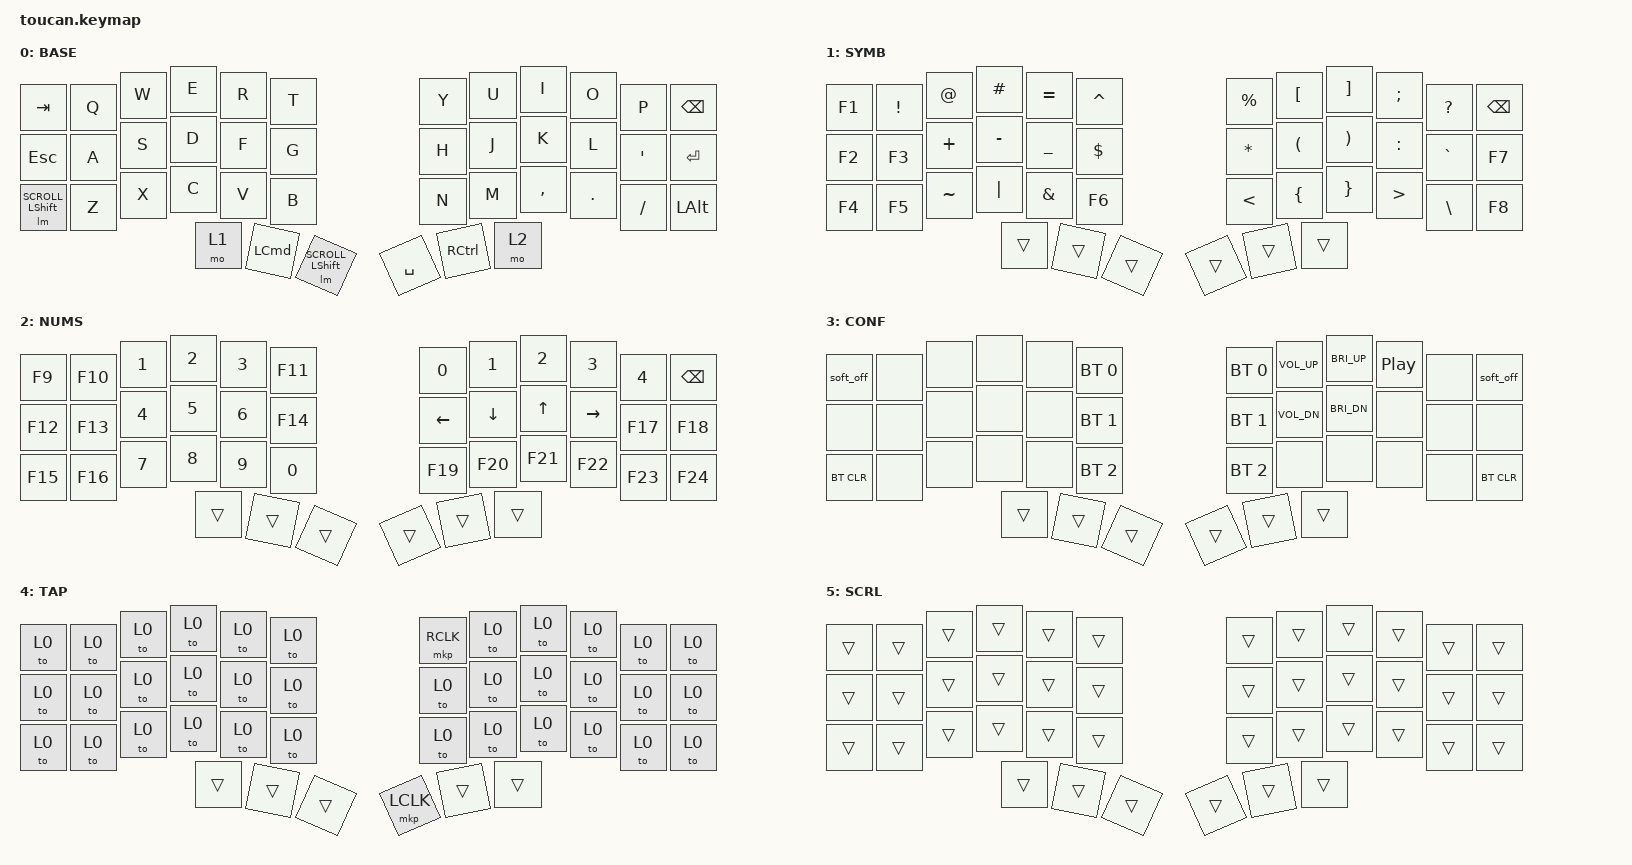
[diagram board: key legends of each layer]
/*
 * Key position indices
 *
 * First row:    0  1  2  3  4  5    6  7  8  9  10 11
 * Second row:  12 13 14 15 16 17   18 19 20 21 22 23
 * Third row:   24 25 26 27 28 29   30 31 32 33 34 35
 * Bottom row:      36 37 38           39 40 41
 */

#include <behaviors.dtsi>
#include <dt-bindings/zmk/keys.h>
#include <dt-bindings/zmk/bt.h>
#include <dt-bindings/zmk/outputs.h>
#include <dt-bindings/zmk/pointing.h>

#define BASE 0
#define SYMB 1
#define NUMS 2
#define CONF 3
#define TAP  4
// SCROLL (index 5): fully transparent layer. Holding Shift activates it as a
// side effect (via the &lm macro), and while it is active the input-listener
// applies a slower scroll scaler (see boards/shields/toucan/toucan.dtsi). The
// fast scroll layers themselves are SYMB(1)/NUMS(2); slow scroll only kicks in
// when Shift is also held. SCROLL carries only &trans, so Shift behaves normally
// for keypresses.
#define SCROLL 5

/ {
  behaviors {
    // Layer + modifier (ZMK docs "LM()" pattern): while held, presses the given
    // modifier AND turns on the given layer; releases both on release.
    // Params: 1 = layer, 2 = modifier keycode. Used as &lm SCROLL LSHFT.
    lm: lm {
      compatible = "zmk,behavior-macro-two-param";
      wait-ms = <0>;
      tap-ms = <0>;
      #binding-cells = <2>;
      bindings
          = <&macro_param_1to1>
          , <&macro_press &mo MACRO_PLACEHOLDER>
          , <&macro_param_2to1>
          , <&macro_press &kp MACRO_PLACEHOLDER>
          , <&macro_pause_for_release>
          , <&macro_param_2to1>
          , <&macro_release &kp MACRO_PLACEHOLDER>
          , <&macro_param_1to1>
          , <&macro_release &mo MACRO_PLACEHOLDER>
          ;
    };
  };

  combos {
    compatible = "zmk,combos";
    combo_layer3_left {
      timeout-ms = <100>;
      key-positions = <36 37>;  // <layer 2> && CMD
      bindings = <&mo 3>;
    };
    combo_layer3_right {
      timeout-ms = <100>;
      key-positions = <40 41>;  // <layer 3> && CTRL
      bindings = <&mo 3>;
    };
  };

  keymap {
    compatible = "zmk,keymap";
    default_layer {
      display-name = "BASE";
      bindings = <
  &kp TAB   &kp Q &kp W &kp E &kp R &kp T   &kp Y &kp U  &kp I     &kp O   &kp P    &kp BSPC
  &kp ESC   &kp A &kp S &kp D &kp F &kp G   &kp H &kp J  &kp K     &kp L   &kp SQT  &kp RET
  &lm SCROLL LSHFT &kp Z &kp X &kp C &kp V &kp B   &kp N &kp M  &kp COMMA &kp DOT &kp FSLH &kp LALT // Use LALT as it is used as meta, not special char
  &mo 1  &kp LCMD &lm SCROLL LSHIFT &kp SPACE &kp RCTRL &mo 2
      >;
    };

    symbols_layer {
      display-name = "SYMB";
      bindings = <
  &kp F1   &kp EXCL &kp AT    &kp HASH  &kp EQUAL &kp CARET &kp PRCNT     &kp LBKT &kp RBKT &kp SEMI         &kp QUESTION &kp BSPC
  &kp F2   &kp F3   &kp PLUS  &kp MINUS &kp UNDER &kp DLLR  &kp ASTRK     &kp LPAR &kp RPAR &kp COLON        &kp GRAVE    &kp F7
  &kp F4   &kp F5   &kp TILDE &kp PIPE  &kp AMPS  &kp F6    &kp LESS_THAN &kp LBRC &kp RBRC &kp GREATER_THAN &kp BSLH     &kp F8
  &trans &trans &trans &trans &trans &trans
      >;
    };

    numbers_layer {
      display-name = "NUMS";
      bindings = <
  &kp F9  &kp F10 &kp N1 &kp N2 &kp N3 &kp F11   &kp N0   &kp N1   &kp N2  &kp N3    &kp N4  &kp BSPC
  &kp F12 &kp F13 &kp N4 &kp N5 &kp N6 &kp F14   &kp LEFT &kp DOWN &kp UP  &kp RIGHT &kp F17 &kp F18
  &kp F15 &kp F16 &kp N7 &kp N8 &kp N9 &kp N0    &kp F19  &kp F20  &kp F21 &kp F22   &kp F23 &kp F24
  &trans &trans &trans &trans &trans &trans
      >;
    };

    bluetooth_layer {
      display-name = "CONF";
      bindings = <
  &soft_off  &none &none &none &none &bt BT_SEL 0   &bt BT_SEL 0 &kp C_VOL_UP &kp C_BRI_UP &kp C_PLAY_PAUSE &none &soft_off
  &none      &none &none &none &none &bt BT_SEL 1   &bt BT_SEL 1 &kp C_VOL_DN &kp C_BRI_DN &none            &none &none
  &bt BT_CLR &none &none &none &none &bt BT_SEL 2   &bt BT_SEL 2 &none        &none        &none            &none &bt BT_CLR
  &trans &trans &trans &trans &trans &trans
      >;
    };

    tap_layer {
      display-name = "TAP";
      bindings = <
  &to 0  &to 0  &to 0  &to 0 &to 0 &to 0   &mkp RCLK &to 0 &to 0 &to 0 &to 0 &to 0
  &to 0  &to 0  &to 0  &to 0 &to 0 &to 0   &to 0     &to 0 &to 0  &to 0 &to 0 &to 0
  &to 0  &to 0  &to 0  &to 0 &to 0 &to 0   &to 0     &to 0 &to 0  &to 0 &to 0 &to 0
  &trans &trans &trans &mkp LCLK &trans &trans
      >;
    };

    // SCROLL (index 5): transparent layer toggled on while Shift is held (via the
    // &lm macro on the BASE Shift keys). Only effect is to select the slower
    // scroll scaler in the input-listener; all keys are &trans so Shift still
    // works normally. Must remain the LAST layer so its index stays 5, matching
    // `layers = <5>` in boards/shields/toucan/toucan.dtsi.
    scroll_layer {
      display-name = "SCRL";
      bindings = <
  &trans &trans &trans &trans &trans &trans   &trans &trans &trans &trans &trans &trans
  &trans &trans &trans &trans &trans &trans   &trans &trans &trans &trans &trans &trans
  &trans &trans &trans &trans &trans &trans   &trans &trans &trans &trans &trans &trans
  &trans &trans &trans &trans &trans &trans
      >;
    };
  };
};
